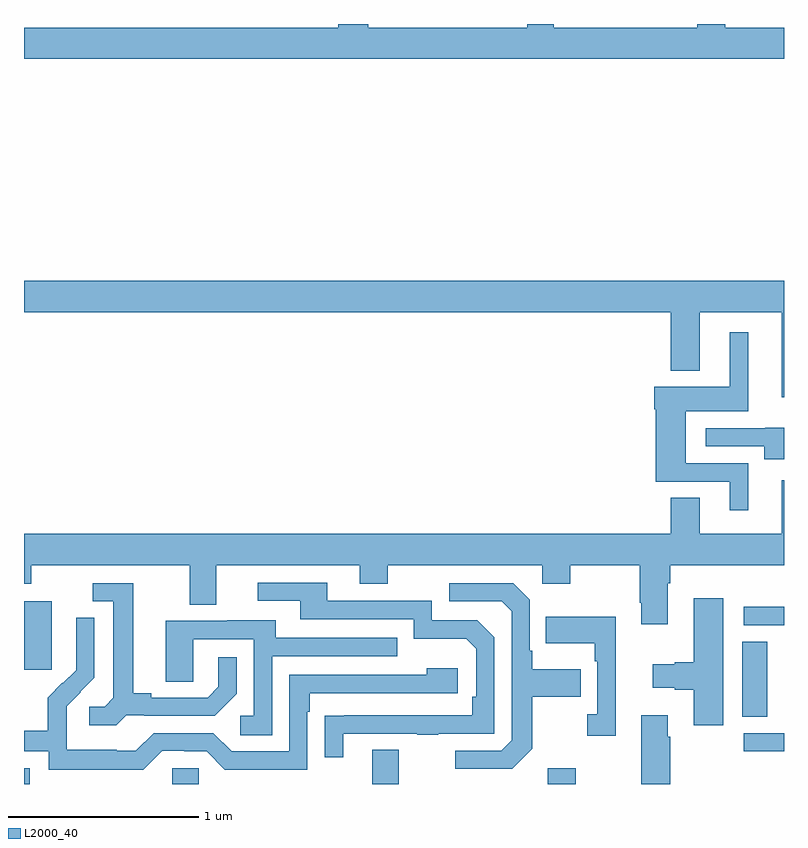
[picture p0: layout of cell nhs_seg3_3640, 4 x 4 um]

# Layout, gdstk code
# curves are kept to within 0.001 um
import gdstk
lib = gdstk.Library(unit=1e-6, precision=1e-09)
def R(c, l, rs):  # rectangles x0, y0, x1, y1
    for r in rs: c.add(gdstk.rectangle(r[:2], r[2:], *l))
def P(c, l, *ps):  # polygons
    for p in ps: c.add(gdstk.Polygon(p, *l))
L2000_40 = (2000, 40)

nhs_seg3_3640 = lib.new_cell('nhs_seg3_3640')
R(nhs_seg3_3640, L2000_40, [(299,730.4,299.029,730.483), (299.781,730.4,299.919,730.482), (300.833,730.4,300.973,730.579), (301.757,730.4,301.905,730.483), (302.787,730.572,303,730.668), (302.78,730.753,302.911,731.15), (299,731.001,299.146,731.362), (302.787,731.235,303,731.334)])
P(nhs_seg3_3640, L2000_40, [(303,734.38),(302.691,734.38),(302.691,734.4),(302.543,734.4),(302.543,734.38),(301.789,734.38),(301.789,734.4),(301.649,734.4),(301.649,734.38),(300.813,734.38),(300.813,734.4),(300.653,734.4),(300.653,734.38),(299,734.38),(299,734.216),(303,734.216)],
  [(299,732.884),(302.405,732.884),(302.405,732.575),(302.557,732.575),(302.557,732.884),(302.987,732.884),(302.987,732.435),(303,732.435),(303,733.048),(299,733.048)],
  [(302.812,732.087),(302.482,732.087),(302.482,732.362),(302.812,732.362),(302.812,732.778),(302.714,732.778),(302.714,732.49),(302.318,732.49),(302.318,732.372),(302.324,732.372),(302.324,731.991),(302.714,731.991),(302.714,731.841),(302.812,731.841)],
  [(303,732.274),(302.901,732.274),(302.901,732.273),(302.589,732.273),(302.589,732.177),(302.897,732.177),(302.897,732.11),(303,732.11)],
  [(303,731.998),(302.987,731.998),(302.987,731.716),(302.557,731.716),(302.557,731.906),(302.405,731.906),(302.405,731.716),(299,731.716),(299,731.453),(299.037,731.453),(299.037,731.552),(299.873,731.552),(299.873,731.344),(300.013,731.344),(300.013,731.552),(300.767,731.552),(300.767,731.453),(300.915,731.453),(300.915,731.552),(301.728,731.552),(301.728,731.453),(301.875,731.453),(301.875,731.552),(302.242,731.552),(302.242,731.353),(302.249,731.353),(302.249,731.241),(302.389,731.241),(302.389,731.456),(302.402,731.456),(302.402,731.552),(303,731.552)],
  [(300.679,730.665),(301.069,730.665),(301.069,730.66),(301.181,730.66),(301.181,730.665),(301.476,730.665),(301.476,731.172),(301.386,731.262),(301.146,731.262),(301.146,731.364),(300.595,731.364),(300.595,731.46),(300.231,731.46),(300.231,731.364),(300.455,731.364),(300.455,731.268),(301.05,731.268),(301.05,731.165),(301.327,731.165),(301.38,731.112),(301.38,730.858),(301.36,730.858),(301.36,730.761),(300.583,730.76),(300.583,730.542),(300.679,730.542)],
  [(299.538,730.761),(299.632,730.761),(299.632,730.758),(300.004,730.758),(300.12,730.874),(300.12,731.068),(300.023,731.068),(300.023,730.911),(299.966,730.854),(299.671,730.854),(299.671,730.877),(299.575,730.877),(299.575,731.457),(299.361,731.457),(299.361,731.361),(299.471,731.361),(299.471,730.853),(299.424,730.806),(299.343,730.806),(299.343,730.709),(299.486,730.709)],
  [(301.675,730.585),(301.675,730.858),(301.931,730.858),(301.931,731.005),(301.675,731.005),(301.675,731.101),(301.662,731.101),(301.662,731.37),(301.575,731.457),(301.239,731.457),(301.239,731.361),(301.515,731.361),(301.566,731.31),(301.566,730.629),(301.512,730.575),(301.269,730.575),(301.269,730.479),(301.569,730.479)],
  [(302.68,731.377),(302.525,731.377),(302.525,731.042),(302.426,731.042),(302.426,731.029),(302.31,731.029),(302.31,730.907),(302.426,730.907),(302.426,730.895),(302.525,730.895),(302.525,730.71),(302.68,730.71)],
  [(302.114,731.281),(301.747,731.281),(301.747,731.141),(302.004,731.141),(302.004,731.045),(302.016,731.045),(302.016,730.766),(301.965,730.766),(301.965,730.653),(302.114,730.653)],
  [(299.727,730.575),(299.843,730.575),(299.843,730.572),(299.961,730.572),(300.057,730.476),(300.492,730.476),(300.492,730.781),(300.505,730.781),(300.505,730.878),(301.282,730.878),(301.282,731.008),(301.121,731.008),(301.121,730.974),(300.396,730.974),(300.396,730.572),(300.093,730.572),(299.997,730.668),(299.682,730.668),(299.589,730.575),(299.489,730.575),(299.489,730.579),(299.226,730.579),(299.226,730.713),(299.224,730.713),(299.224,730.81),(299.37,730.958),(299.37,731.276),(299.274,731.276),(299.274,731.122),(299.276,731.122),(299.276,731),(299.205,730.929),(299.202,730.932),(299.125,730.855),(299.125,730.681),(299,730.681),(299,730.572),(299.13,730.572),(299.13,730.475),(299.627,730.475)],
  [(300.306,731.073),(300.965,731.073),(300.965,731.169),(300.325,731.169),(300.325,731.263),(300.071,731.263),(300.071,731.259),(299.747,731.259),(299.747,730.939),(299.892,730.939),(299.892,731.163),(300.21,731.163),(300.21,730.758),(300.138,730.758),(300.138,730.657),(300.306,730.657)],
  [(302.402,730.649),(302.389,730.649),(302.389,730.762),(302.249,730.762),(302.249,730.4),(302.402,730.4)])

lib.write_gds('nhs_seg3_3640.gds')
